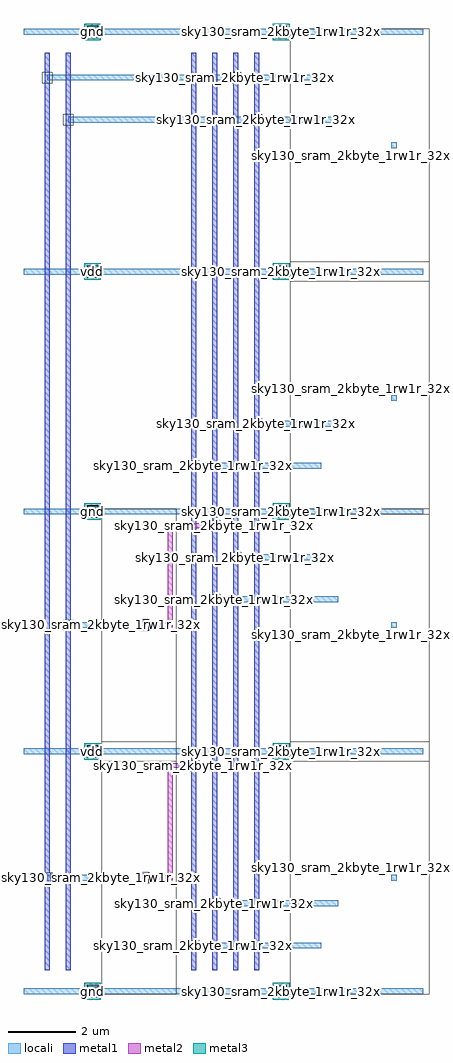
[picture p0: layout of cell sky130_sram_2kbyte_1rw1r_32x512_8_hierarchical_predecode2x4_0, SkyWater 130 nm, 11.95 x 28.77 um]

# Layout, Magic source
magic
tech sky130A
magscale 1 2
<< locali >>
rect 0 5639 2354 5673
rect 138 5369 1754 5403
rect 262 5121 1854 5155
rect 2165 4970 2199 5004
rect 0 4225 2354 4259
rect 2165 3480 2199 3514
rect 1374 3329 1854 3363
rect 1002 3081 1754 3115
rect 0 2811 2354 2845
rect 1250 2541 1754 2575
rect 1126 2293 1854 2327
rect 262 2142 594 2176
rect 2165 2142 2199 2176
rect 0 1397 2354 1431
rect 138 652 594 686
rect 2165 652 2199 686
rect 1126 501 1854 535
rect 1002 253 1754 287
rect 0 -17 2354 17
<< metal1 >>
rect 374 5630 438 5682
rect 1486 5630 1550 5682
rect 124 698 152 5532
rect 248 2188 276 5532
rect 374 4216 438 4268
rect 374 2802 438 2854
rect 239 2130 285 2188
rect 677 2133 741 2185
rect 115 640 161 698
rect 124 124 152 640
rect 248 124 276 2130
rect 374 1388 438 1440
rect 677 643 741 695
rect 988 124 1016 5532
rect 1112 124 1140 5532
rect 1236 124 1264 5532
rect 1360 124 1388 5532
rect 1486 4216 1550 4268
rect 1486 2802 1550 2854
rect 1486 1388 1550 1440
rect 374 -26 438 26
rect 1486 -26 1550 26
<< metal2 >>
rect 378 5632 434 5680
rect 1490 5632 1546 5680
rect 378 4218 434 4266
rect 1490 4218 1546 4266
rect 378 2804 434 2852
rect 1490 2804 1546 2852
rect 850 2730 1126 2758
rect 850 2173 878 2730
rect 709 2145 878 2173
rect 378 1390 434 1438
rect 1490 1390 1546 1438
rect 850 1316 1002 1344
rect 850 683 878 1316
rect 709 655 878 683
rect 378 -24 434 24
rect 1490 -24 1546 24
<< metal3 >>
rect 357 5607 455 5705
rect 1469 5607 1567 5705
rect 357 4193 455 4291
rect 1469 4193 1567 4291
rect 357 2779 455 2877
rect 1469 2779 1567 2877
rect 357 1365 455 1463
rect 1469 1365 1567 1463
rect 357 -49 455 49
rect 1469 -49 1567 49
use sky130_sram_2kbyte_1rw1r_32x512_8_pand2_0  sky130_sram_2kbyte_1rw1r_32x512_8_pand2_0_3
transform 1 0 1608 0 1 0
box -36 -17 782 1471
use sky130_sram_2kbyte_1rw1r_32x512_8_pand2_0  sky130_sram_2kbyte_1rw1r_32x512_8_pand2_0_2
transform 1 0 1608 0 -1 2828
box -36 -17 782 1471
use sky130_sram_2kbyte_1rw1r_32x512_8_pand2_0  sky130_sram_2kbyte_1rw1r_32x512_8_pand2_0_1
transform 1 0 1608 0 1 2828
box -36 -17 782 1471
use sky130_sram_2kbyte_1rw1r_32x512_8_pand2_0  sky130_sram_2kbyte_1rw1r_32x512_8_pand2_0_0
transform 1 0 1608 0 -1 5656
box -36 -17 782 1471
use sky130_sram_2kbyte_1rw1r_32x512_8_contact_20  sky130_sram_2kbyte_1rw1r_32x512_8_contact_20_1
transform 1 0 970 0 1 1298
box 0 0 64 64
use sky130_sram_2kbyte_1rw1r_32x512_8_contact_20  sky130_sram_2kbyte_1rw1r_32x512_8_contact_20_0
transform 1 0 1094 0 1 2712
box 0 0 64 64
use sky130_sram_2kbyte_1rw1r_32x512_8_contact_17  sky130_sram_2kbyte_1rw1r_32x512_8_contact_17_9
transform 1 0 105 0 1 640
box 0 0 66 58
use sky130_sram_2kbyte_1rw1r_32x512_8_contact_17  sky130_sram_2kbyte_1rw1r_32x512_8_contact_17_8
transform 1 0 229 0 1 2130
box 0 0 66 58
use sky130_sram_2kbyte_1rw1r_32x512_8_contact_17  sky130_sram_2kbyte_1rw1r_32x512_8_contact_17_7
transform 1 0 969 0 1 241
box 0 0 66 58
use sky130_sram_2kbyte_1rw1r_32x512_8_contact_17  sky130_sram_2kbyte_1rw1r_32x512_8_contact_17_6
transform 1 0 1093 0 1 489
box 0 0 66 58
use sky130_sram_2kbyte_1rw1r_32x512_8_contact_17  sky130_sram_2kbyte_1rw1r_32x512_8_contact_17_5
transform 1 0 1217 0 1 2529
box 0 0 66 58
use sky130_sram_2kbyte_1rw1r_32x512_8_contact_17  sky130_sram_2kbyte_1rw1r_32x512_8_contact_17_4
transform 1 0 1093 0 1 2281
box 0 0 66 58
use sky130_sram_2kbyte_1rw1r_32x512_8_contact_17  sky130_sram_2kbyte_1rw1r_32x512_8_contact_17_3
transform 1 0 969 0 1 3069
box 0 0 66 58
use sky130_sram_2kbyte_1rw1r_32x512_8_contact_17  sky130_sram_2kbyte_1rw1r_32x512_8_contact_17_2
transform 1 0 1341 0 1 3317
box 0 0 66 58
use sky130_sram_2kbyte_1rw1r_32x512_8_contact_17  sky130_sram_2kbyte_1rw1r_32x512_8_contact_17_1
transform 1 0 1217 0 1 5357
box 0 0 66 58
use sky130_sram_2kbyte_1rw1r_32x512_8_contact_17  sky130_sram_2kbyte_1rw1r_32x512_8_contact_17_0
transform 1 0 1341 0 1 5109
box 0 0 66 58
use sky130_sram_2kbyte_1rw1r_32x512_8_pinv_1  sky130_sram_2kbyte_1rw1r_32x512_8_pinv_1_1
transform 1 0 496 0 1 0
box -36 -17 404 1471
use sky130_sram_2kbyte_1rw1r_32x512_8_pinv_1  sky130_sram_2kbyte_1rw1r_32x512_8_pinv_1_0
transform 1 0 496 0 -1 2828
box -36 -17 404 1471
use sky130_sram_2kbyte_1rw1r_32x512_8_contact_7  sky130_sram_2kbyte_1rw1r_32x512_8_contact_7_0
transform 1 0 1485 0 1 5619
box 0 0 66 74
use sky130_sram_2kbyte_1rw1r_32x512_8_contact_19  sky130_sram_2kbyte_1rw1r_32x512_8_contact_19_0
transform 1 0 1486 0 1 5624
box 0 0 64 64
use sky130_sram_2kbyte_1rw1r_32x512_8_contact_14  sky130_sram_2kbyte_1rw1r_32x512_8_contact_14_0
transform 1 0 1489 0 1 5623
box 0 0 58 66
use sky130_sram_2kbyte_1rw1r_32x512_8_contact_7  sky130_sram_2kbyte_1rw1r_32x512_8_contact_7_1
transform 1 0 373 0 1 5619
box 0 0 66 74
use sky130_sram_2kbyte_1rw1r_32x512_8_contact_19  sky130_sram_2kbyte_1rw1r_32x512_8_contact_19_1
transform 1 0 374 0 1 5624
box 0 0 64 64
use sky130_sram_2kbyte_1rw1r_32x512_8_contact_14  sky130_sram_2kbyte_1rw1r_32x512_8_contact_14_1
transform 1 0 377 0 1 5623
box 0 0 58 66
use sky130_sram_2kbyte_1rw1r_32x512_8_contact_7  sky130_sram_2kbyte_1rw1r_32x512_8_contact_7_2
transform 1 0 1485 0 1 4205
box 0 0 66 74
use sky130_sram_2kbyte_1rw1r_32x512_8_contact_19  sky130_sram_2kbyte_1rw1r_32x512_8_contact_19_2
transform 1 0 1486 0 1 4210
box 0 0 64 64
use sky130_sram_2kbyte_1rw1r_32x512_8_contact_14  sky130_sram_2kbyte_1rw1r_32x512_8_contact_14_2
transform 1 0 1489 0 1 4209
box 0 0 58 66
use sky130_sram_2kbyte_1rw1r_32x512_8_contact_7  sky130_sram_2kbyte_1rw1r_32x512_8_contact_7_3
transform 1 0 373 0 1 4205
box 0 0 66 74
use sky130_sram_2kbyte_1rw1r_32x512_8_contact_19  sky130_sram_2kbyte_1rw1r_32x512_8_contact_19_3
transform 1 0 374 0 1 4210
box 0 0 64 64
use sky130_sram_2kbyte_1rw1r_32x512_8_contact_14  sky130_sram_2kbyte_1rw1r_32x512_8_contact_14_3
transform 1 0 377 0 1 4209
box 0 0 58 66
use sky130_sram_2kbyte_1rw1r_32x512_8_contact_7  sky130_sram_2kbyte_1rw1r_32x512_8_contact_7_4
transform 1 0 1485 0 1 2791
box 0 0 66 74
use sky130_sram_2kbyte_1rw1r_32x512_8_contact_19  sky130_sram_2kbyte_1rw1r_32x512_8_contact_19_4
transform 1 0 1486 0 1 2796
box 0 0 64 64
use sky130_sram_2kbyte_1rw1r_32x512_8_contact_14  sky130_sram_2kbyte_1rw1r_32x512_8_contact_14_4
transform 1 0 1489 0 1 2795
box 0 0 58 66
use sky130_sram_2kbyte_1rw1r_32x512_8_contact_7  sky130_sram_2kbyte_1rw1r_32x512_8_contact_7_5
transform 1 0 373 0 1 2791
box 0 0 66 74
use sky130_sram_2kbyte_1rw1r_32x512_8_contact_19  sky130_sram_2kbyte_1rw1r_32x512_8_contact_19_5
transform 1 0 374 0 1 2796
box 0 0 64 64
use sky130_sram_2kbyte_1rw1r_32x512_8_contact_14  sky130_sram_2kbyte_1rw1r_32x512_8_contact_14_5
transform 1 0 377 0 1 2795
box 0 0 58 66
use sky130_sram_2kbyte_1rw1r_32x512_8_contact_7  sky130_sram_2kbyte_1rw1r_32x512_8_contact_7_6
transform 1 0 1485 0 1 4205
box 0 0 66 74
use sky130_sram_2kbyte_1rw1r_32x512_8_contact_19  sky130_sram_2kbyte_1rw1r_32x512_8_contact_19_6
transform 1 0 1486 0 1 4210
box 0 0 64 64
use sky130_sram_2kbyte_1rw1r_32x512_8_contact_14  sky130_sram_2kbyte_1rw1r_32x512_8_contact_14_6
transform 1 0 1489 0 1 4209
box 0 0 58 66
use sky130_sram_2kbyte_1rw1r_32x512_8_contact_7  sky130_sram_2kbyte_1rw1r_32x512_8_contact_7_7
transform 1 0 373 0 1 4205
box 0 0 66 74
use sky130_sram_2kbyte_1rw1r_32x512_8_contact_19  sky130_sram_2kbyte_1rw1r_32x512_8_contact_19_7
transform 1 0 374 0 1 4210
box 0 0 64 64
use sky130_sram_2kbyte_1rw1r_32x512_8_contact_14  sky130_sram_2kbyte_1rw1r_32x512_8_contact_14_7
transform 1 0 377 0 1 4209
box 0 0 58 66
use sky130_sram_2kbyte_1rw1r_32x512_8_contact_7  sky130_sram_2kbyte_1rw1r_32x512_8_contact_7_8
transform 1 0 1485 0 1 2791
box 0 0 66 74
use sky130_sram_2kbyte_1rw1r_32x512_8_contact_19  sky130_sram_2kbyte_1rw1r_32x512_8_contact_19_8
transform 1 0 1486 0 1 2796
box 0 0 64 64
use sky130_sram_2kbyte_1rw1r_32x512_8_contact_14  sky130_sram_2kbyte_1rw1r_32x512_8_contact_14_8
transform 1 0 1489 0 1 2795
box 0 0 58 66
use sky130_sram_2kbyte_1rw1r_32x512_8_contact_7  sky130_sram_2kbyte_1rw1r_32x512_8_contact_7_9
transform 1 0 373 0 1 2791
box 0 0 66 74
use sky130_sram_2kbyte_1rw1r_32x512_8_contact_19  sky130_sram_2kbyte_1rw1r_32x512_8_contact_19_9
transform 1 0 374 0 1 2796
box 0 0 64 64
use sky130_sram_2kbyte_1rw1r_32x512_8_contact_14  sky130_sram_2kbyte_1rw1r_32x512_8_contact_14_9
transform 1 0 377 0 1 2795
box 0 0 58 66
use sky130_sram_2kbyte_1rw1r_32x512_8_contact_7  sky130_sram_2kbyte_1rw1r_32x512_8_contact_7_10
transform 1 0 1485 0 1 1377
box 0 0 66 74
use sky130_sram_2kbyte_1rw1r_32x512_8_contact_19  sky130_sram_2kbyte_1rw1r_32x512_8_contact_19_10
transform 1 0 1486 0 1 1382
box 0 0 64 64
use sky130_sram_2kbyte_1rw1r_32x512_8_contact_14  sky130_sram_2kbyte_1rw1r_32x512_8_contact_14_10
transform 1 0 1489 0 1 1381
box 0 0 58 66
use sky130_sram_2kbyte_1rw1r_32x512_8_contact_7  sky130_sram_2kbyte_1rw1r_32x512_8_contact_7_11
transform 1 0 373 0 1 1377
box 0 0 66 74
use sky130_sram_2kbyte_1rw1r_32x512_8_contact_19  sky130_sram_2kbyte_1rw1r_32x512_8_contact_19_11
transform 1 0 374 0 1 1382
box 0 0 64 64
use sky130_sram_2kbyte_1rw1r_32x512_8_contact_14  sky130_sram_2kbyte_1rw1r_32x512_8_contact_14_11
transform 1 0 377 0 1 1381
box 0 0 58 66
use sky130_sram_2kbyte_1rw1r_32x512_8_contact_7  sky130_sram_2kbyte_1rw1r_32x512_8_contact_7_12
transform 1 0 1485 0 1 -37
box 0 0 66 74
use sky130_sram_2kbyte_1rw1r_32x512_8_contact_19  sky130_sram_2kbyte_1rw1r_32x512_8_contact_19_12
transform 1 0 1486 0 1 -32
box 0 0 64 64
use sky130_sram_2kbyte_1rw1r_32x512_8_contact_14  sky130_sram_2kbyte_1rw1r_32x512_8_contact_14_12
transform 1 0 1489 0 1 -33
box 0 0 58 66
use sky130_sram_2kbyte_1rw1r_32x512_8_contact_7  sky130_sram_2kbyte_1rw1r_32x512_8_contact_7_13
transform 1 0 373 0 1 -37
box 0 0 66 74
use sky130_sram_2kbyte_1rw1r_32x512_8_contact_19  sky130_sram_2kbyte_1rw1r_32x512_8_contact_19_13
transform 1 0 374 0 1 -32
box 0 0 64 64
use sky130_sram_2kbyte_1rw1r_32x512_8_contact_14  sky130_sram_2kbyte_1rw1r_32x512_8_contact_14_13
transform 1 0 377 0 1 -33
box 0 0 58 66
use sky130_sram_2kbyte_1rw1r_32x512_8_contact_7  sky130_sram_2kbyte_1rw1r_32x512_8_contact_7_14
transform 1 0 1485 0 1 1377
box 0 0 66 74
use sky130_sram_2kbyte_1rw1r_32x512_8_contact_19  sky130_sram_2kbyte_1rw1r_32x512_8_contact_19_14
transform 1 0 1486 0 1 1382
box 0 0 64 64
use sky130_sram_2kbyte_1rw1r_32x512_8_contact_14  sky130_sram_2kbyte_1rw1r_32x512_8_contact_14_14
transform 1 0 1489 0 1 1381
box 0 0 58 66
use sky130_sram_2kbyte_1rw1r_32x512_8_contact_7  sky130_sram_2kbyte_1rw1r_32x512_8_contact_7_15
transform 1 0 373 0 1 1377
box 0 0 66 74
use sky130_sram_2kbyte_1rw1r_32x512_8_contact_19  sky130_sram_2kbyte_1rw1r_32x512_8_contact_19_15
transform 1 0 374 0 1 1382
box 0 0 64 64
use sky130_sram_2kbyte_1rw1r_32x512_8_contact_14  sky130_sram_2kbyte_1rw1r_32x512_8_contact_14_15
transform 1 0 377 0 1 1381
box 0 0 58 66
use sky130_sram_2kbyte_1rw1r_32x512_8_contact_14  sky130_sram_2kbyte_1rw1r_32x512_8_contact_14_16
transform 1 0 1345 0 1 5105
box 0 0 58 66
use sky130_sram_2kbyte_1rw1r_32x512_8_contact_14  sky130_sram_2kbyte_1rw1r_32x512_8_contact_14_17
transform 1 0 233 0 1 5105
box 0 0 58 66
use sky130_sram_2kbyte_1rw1r_32x512_8_contact_14  sky130_sram_2kbyte_1rw1r_32x512_8_contact_14_18
transform 1 0 1221 0 1 5353
box 0 0 58 66
use sky130_sram_2kbyte_1rw1r_32x512_8_contact_14  sky130_sram_2kbyte_1rw1r_32x512_8_contact_14_19
transform 1 0 109 0 1 5353
box 0 0 58 66
use sky130_sram_2kbyte_1rw1r_32x512_8_contact_19  sky130_sram_2kbyte_1rw1r_32x512_8_contact_19_16
transform 1 0 677 0 1 2127
box 0 0 64 64
use sky130_sram_2kbyte_1rw1r_32x512_8_contact_14  sky130_sram_2kbyte_1rw1r_32x512_8_contact_14_20
transform 1 0 680 0 1 2126
box 0 0 58 66
use sky130_sram_2kbyte_1rw1r_32x512_8_contact_19  sky130_sram_2kbyte_1rw1r_32x512_8_contact_19_17
transform 1 0 677 0 1 637
box 0 0 64 64
use sky130_sram_2kbyte_1rw1r_32x512_8_contact_14  sky130_sram_2kbyte_1rw1r_32x512_8_contact_14_21
transform 1 0 680 0 1 636
box 0 0 58 66
<< labels >>
rlabel metal3 s 357 1365 455 1463 4 vdd
rlabel metal3 s 1469 4193 1567 4291 4 vdd
rlabel metal3 s 1469 1365 1567 1463 4 vdd
rlabel metal3 s 357 4193 455 4291 4 vdd
rlabel metal3 s 357 -49 455 49 4 gnd
rlabel metal3 s 1469 -49 1567 49 4 gnd
rlabel metal3 s 357 5607 455 5705 4 gnd
rlabel metal3 s 1469 2779 1567 2877 4 gnd
rlabel metal3 s 357 2779 455 2877 4 gnd
rlabel metal3 s 1469 5607 1567 5705 4 gnd
rlabel metal1 s 115 640 161 698 4 in_0
rlabel metal1 s 239 2130 285 2188 4 in_1
rlabel locali s 2182 669 2182 669 4 out_0
rlabel locali s 2182 2159 2182 2159 4 out_1
rlabel locali s 2182 3497 2182 3497 4 out_2
rlabel locali s 2182 4987 2182 4987 4 out_3
<< properties >>
string FIXED_BBOX 0 0 2354 5656
<< end >>
